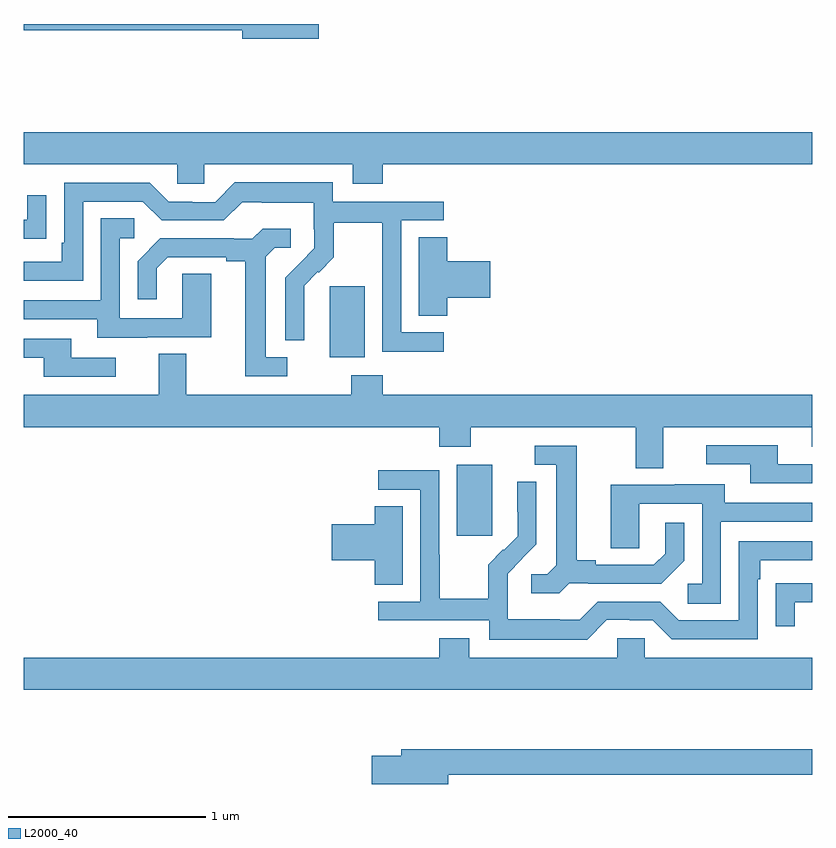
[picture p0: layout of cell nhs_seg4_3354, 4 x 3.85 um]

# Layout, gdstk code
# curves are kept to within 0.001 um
import gdstk
lib = gdstk.Library(unit=1e-6, precision=1e-09)
def R(c, l, rs):  # rectangles x0, y0, x1, y1
    for r in rs: c.add(gdstk.rectangle(r[:2], r[2:], *l))
def P(c, l, *ps):  # polygons
    for p in ps: c.add(gdstk.Polygon(p, *l))
L2000_40 = (2000, 40)

nhs_seg4_3354 = lib.new_cell('nhs_seg4_3354')
R(nhs_seg4_3354, L2000_40, [(291.197,760.305,291.376,760.666), (290.552,761.21,290.731,761.571)])
P(nhs_seg4_3354, L2000_40, [(290.497,762.9),(289,762.9),(289,762.868),(290.108,762.868),(290.108,762.826),(290.497,762.826)],
  [(290.822,762.188),(293,762.188),(293,762.352),(289,762.352),(289,762.188),(289.779,762.188),(289.779,762.09),(289.917,762.09),(289.917,762.188),(290.669,762.188),(290.669,762.089),(290.822,762.089)],
  [(291.13,761.337),(290.916,761.337),(290.916,761.904),(291.13,761.904),(291.13,762),(290.568,762),(290.568,762.097),(290.071,762.097),(289.971,761.997),(289.856,761.997),(289.856,762),(289.737,762),(289.641,762.096),(289.206,762.096),(289.206,761.791),(289.193,761.791),(289.193,761.694),(289,761.694),(289,761.598),(289.302,761.598),(289.302,762),(289.605,762),(289.701,761.904),(290.016,761.904),(290.109,761.997),(290.209,761.997),(290.209,761.993),(290.472,761.993),(290.472,761.859),(290.474,761.859),(290.474,761.762),(290.328,761.614),(290.328,761.296),(290.424,761.296),(290.423,761.573),(290.493,761.643),(290.496,761.64),(290.573,761.717),(290.573,761.892),(290.818,761.892),(290.818,761.668),(290.82,761.668),(290.82,761.239),(291.13,761.239)],
  [(289.013,761.812),(289.115,761.812),(289.115,762.031),(289.019,762.031),(289.019,761.907),(289,761.907),(289,761.811),(289.013,761.811)],
  [(289.627,761.313),(289.951,761.313),(289.951,761.633),(289.806,761.633),(289.806,761.409),(289.488,761.409),(289.488,761.814),(289.561,761.814),(289.561,761.915),(289.392,761.915),(289.392,761.499),(289,761.499),(289,761.403),(289.373,761.403),(289.373,761.309),(289.627,761.309)],
  [(290.338,761.211),(290.227,761.211),(290.227,761.719),(290.274,761.766),(290.356,761.766),(290.356,761.863),(290.212,761.863),(290.16,761.811),(290.066,761.811),(290.066,761.814),(289.694,761.814),(289.578,761.698),(289.578,761.505),(289.675,761.505),(289.675,761.661),(289.732,761.718),(290.027,761.718),(290.027,761.696),(290.123,761.696),(290.123,761.115),(290.338,761.115)],
  [(291.149,761.513),(291.367,761.513),(291.367,761.696),(291.149,761.696),(291.149,761.819),(291.005,761.819),(291.005,761.422),(291.149,761.422)],
  [(289.468,761.208),(289.243,761.208),(289.243,761.304),(289,761.304),(289,761.208),(289.103,761.208),(289.103,761.112),(289.468,761.112)],
  [(292.243,760.856),(292.997,760.856),(292.997,760.757),(293,760.757),(293,761.02),(290.822,761.02),(290.822,761.119),(290.662,761.119),(290.662,761.02),(289.825,761.02),(289.825,761.228),(289.685,761.228),(289.685,761.02),(289,761.02),(289,760.856),(291.107,760.856),(291.107,760.757),(291.267,760.757),(291.267,760.856),(292.103,760.856),(292.103,760.648),(292.243,760.648)],
  [(293,760.668),(292.825,760.668),(292.825,760.764),(292.461,760.764),(292.461,760.668),(292.685,760.668),(292.685,760.572),(293,760.572)],
  [(291.768,760.065),(291.862,760.065),(291.862,760.062),(292.234,760.062),(292.35,760.178),(292.35,760.372),(292.253,760.372),(292.253,760.215),(292.196,760.158),(291.901,760.158),(291.901,760.181),(291.805,760.181),(291.805,760.761),(291.591,760.761),(291.591,760.665),(291.701,760.665),(291.701,760.157),(291.654,760.11),(291.573,760.11),(291.573,760.013),(291.716,760.013)],
  [(291.957,759.879),(292.073,759.879),(292.073,759.876),(292.191,759.876),(292.287,759.78),(292.722,759.78),(292.722,760.085),(292.735,760.085),(292.735,760.182),(293,760.182),(293,760.278),(292.626,760.278),(292.626,759.876),(292.323,759.876),(292.227,759.972),(291.912,759.972),(291.819,759.879),(291.719,759.879),(291.719,759.883),(291.456,759.883),(291.456,760.017),(291.454,760.017),(291.454,760.114),(291.6,760.262),(291.6,760.58),(291.504,760.58),(291.504,760.426),(291.506,760.426),(291.506,760.304),(291.435,760.233),(291.432,760.236),(291.355,760.159),(291.355,759.985),(291.111,759.985),(291.111,760.208),(291.108,760.208),(291.108,760.638),(290.799,760.638),(290.799,760.539),(291.012,760.539),(291.012,759.972),(290.799,759.972),(290.799,759.876),(291.36,759.876),(291.36,759.779),(291.857,759.779)],
  [(292.536,760.377),(293,760.377),(293,760.473),(292.555,760.473),(292.555,760.567),(292.301,760.567),(292.301,760.563),(291.977,760.563),(291.977,760.243),(292.122,760.243),(292.122,760.467),(292.44,760.467),(292.44,760.062),(292.368,760.062),(292.368,759.961),(292.536,759.961)],
  [(290.923,760.454),(290.78,760.454),(290.78,760.364),(290.562,760.364),(290.562,760.181),(290.78,760.181),(290.78,760.057),(290.923,760.057)],
  [(292.909,759.969),(293,759.969),(293,760.065),(292.915,760.065),(292.915,760.064),(292.813,760.064),(292.813,759.846),(292.909,759.846)],
  [(293,759.688),(292.149,759.688),(292.149,759.786),(292.011,759.786),(292.011,759.688),(291.259,759.688),(291.259,759.787),(291.107,759.787),(291.107,759.688),(289,759.688),(289,759.524),(293,759.524)],
  [(291.154,759.094),(293,759.094),(293,759.223),(290.915,759.223),(290.915,759.189),(290.766,759.189),(290.766,759.047),(291.154,759.047)])

lib.write_gds('nhs_seg4_3354.gds')
